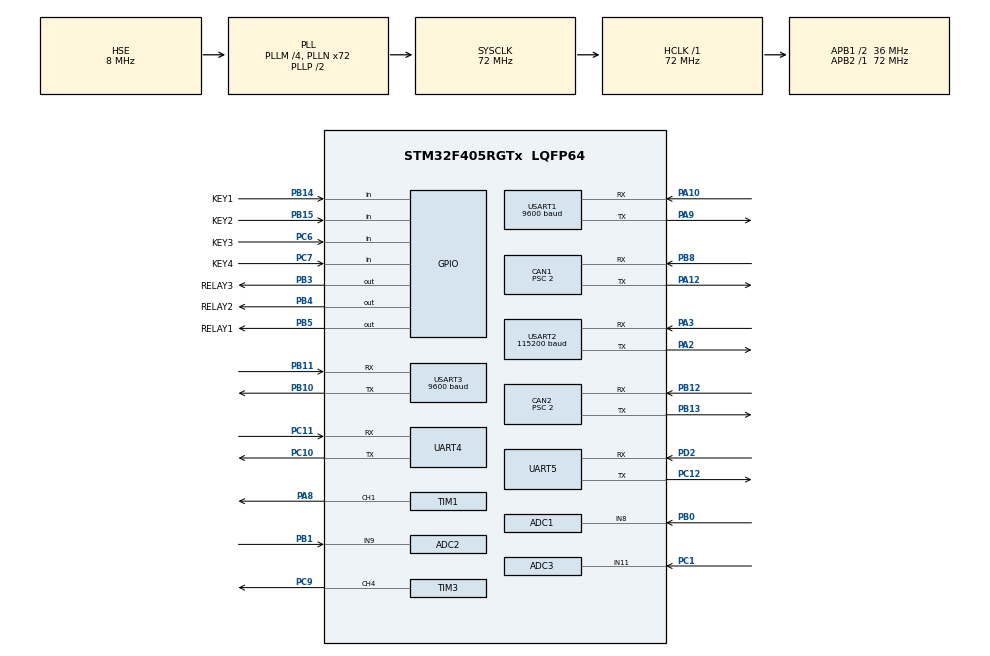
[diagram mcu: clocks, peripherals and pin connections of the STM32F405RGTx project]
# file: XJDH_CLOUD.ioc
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ADC1.Channel-0\#ChannelRegularConversion=ADC_CHANNEL_8
ADC1.ClockPrescaler=ADC_CLOCK_SYNC_PCLK_DIV2
ADC1.DMAContinuousRequests=ENABLE
ADC1.DiscontinuousConvMode=DISABLE
ADC1.NbrOfConversion=1
ADC1.NbrOfConversionFlag=1
ADC1.Rank-0\#ChannelRegularConversion=1
ADC1.SamplingTime-0\#ChannelRegularConversion=ADC_SAMPLETIME_3CYCLES
ADC1.ScanConvMode=ENABLE
ADC1.master=1
ADC2.Channel-0\#ChannelRegularConversion=ADC_CHANNEL_9
ADC2.NbrOfConversionFlag=1
ADC2.Rank-0\#ChannelRegularConversion=1
ADC2.SamplingTime-0\#ChannelRegularConversion=ADC_SAMPLETIME_3CYCLES
ADC3.Channel-0\#ChannelRegularConversion=ADC_CHANNEL_11
ADC3.NbrOfConversionFlag=1
ADC3.Rank-0\#ChannelRegularConversion=1
ADC3.SamplingTime-0\#ChannelRegularConversion=ADC_SAMPLETIME_3CYCLES
CAN1.BS1=CAN_BS1_11TQ
CAN1.BS2=CAN_BS2_6TQ
CAN1.CalculateBaudRate=1000000
CAN1.CalculateTimeBit=1000
CAN1.CalculateTimeQuantum=55.55555555555556
CAN1.Prescaler=2
CAN2.BS1=CAN_BS1_11TQ
CAN2.BS2=CAN_BS2_6TQ
CAN2.CalculateBaudRate=1000000
CAN2.CalculateTimeBit=1000
CAN2.CalculateTimeQuantum=55.55555555555556
CAN2.Prescaler=2
Dma.ADC1.1.Direction=DMA_PERIPH_TO_MEMORY
Dma.ADC1.1.FIFOMode=DMA_FIFOMODE_DISABLE
Dma.ADC1.1.Instance=DMA2_Stream0
Dma.ADC1.1.MemDataAlignment=DMA_MDATAALIGN_HALFWORD
Dma.ADC1.1.MemInc=DMA_MINC_ENABLE
Dma.ADC1.1.Mode=DMA_NORMAL
Dma.ADC1.1.PeriphDataAlignment=DMA_PDATAALIGN_HALFWORD
Dma.ADC1.1.PeriphInc=DMA_PINC_DISABLE
Dma.ADC1.1.Priority=DMA_PRIORITY_LOW
Dma.ADC2.3.Direction=DMA_PERIPH_TO_MEMORY
Dma.ADC2.3.FIFOMode=DMA_FIFOMODE_DISABLE
Dma.ADC2.3.Instance=DMA2_Stream3
Dma.ADC2.3.MemDataAlignment=DMA_MDATAALIGN_HALFWORD
Dma.ADC2.3.MemInc=DMA_MINC_ENABLE
Dma.ADC2.3.Mode=DMA_NORMAL
Dma.ADC2.3.PeriphDataAlignment=DMA_PDATAALIGN_HALFWORD
Dma.ADC2.3.PeriphInc=DMA_PINC_DISABLE
Dma.ADC2.3.Priority=DMA_PRIORITY_LOW
Dma.ADC3.5.Direction=DMA_PERIPH_TO_MEMORY
Dma.ADC3.5.FIFOMode=DMA_FIFOMODE_DISABLE
Dma.ADC3.5.Instance=DMA2_Stream1
Dma.ADC3.5.MemDataAlignment=DMA_MDATAALIGN_HALFWORD
Dma.ADC3.5.MemInc=DMA_MINC_ENABLE
Dma.ADC3.5.Mode=DMA_NORMAL
Dma.ADC3.5.PeriphDataAlignment=DMA_PDATAALIGN_HALFWORD
Dma.ADC3.5.PeriphInc=DMA_PINC_DISABLE
Dma.ADC3.5.Priority=DMA_PRIORITY_LOW
Dma.Request0=UART4_TX
Dma.Request1=ADC1
Dma.Request2=USART1_RX
Dma.Request3=ADC2
Dma.Request4=USART2_RX
Dma.Request5=ADC3
Dma.Request6=USART3_RX
Dma.Request7=UART5_RX
Dma.Request8=UART5_TX
Dma.Request9=UART4_RX
Dma.UART4_RX.9.Direction=DMA_PERIPH_TO_MEMORY
Dma.UART4_RX.9.FIFOMode=DMA_FIFOMODE_DISABLE
Dma.UART4_RX.9.Instance=DMA1_Stream2
Dma.UART4_RX.9.MemDataAlignment=DMA_MDATAALIGN_BYTE
Dma.UART4_RX.9.MemInc=DMA_MINC_ENABLE
Dma.UART4_RX.9.Mode=DMA_NORMAL
Dma.UART4_RX.9.PeriphDataAlignment=DMA_PDATAALIGN_BYTE
Dma.UART4_RX.9.PeriphInc=DMA_PINC_DISABLE
Dma.UART4_RX.9.Priority=DMA_PRIORITY_LOW
Dma.UART4_TX.0.Direction=DMA_MEMORY_TO_PERIPH
Dma.UART4_TX.0.FIFOMode=DMA_FIFOMODE_DISABLE
Dma.UART4_TX.0.Instance=DMA1_Stream4
Dma.UART4_TX.0.MemDataAlignment=DMA_MDATAALIGN_BYTE
Dma.UART4_TX.0.MemInc=DMA_MINC_ENABLE
Dma.UART4_TX.0.Mode=DMA_NORMAL
Dma.UART4_TX.0.PeriphDataAlignment=DMA_PDATAALIGN_BYTE
Dma.UART4_TX.0.PeriphInc=DMA_PINC_DISABLE
Dma.UART4_TX.0.Priority=DMA_PRIORITY_LOW
Dma.UART5_RX.7.Direction=DMA_PERIPH_TO_MEMORY
Dma.UART5_RX.7.FIFOMode=DMA_FIFOMODE_DISABLE
Dma.UART5_RX.7.Instance=DMA1_Stream0
Dma.UART5_RX.7.MemDataAlignment=DMA_MDATAALIGN_BYTE
Dma.UART5_RX.7.MemInc=DMA_MINC_ENABLE
Dma.UART5_RX.7.Mode=DMA_NORMAL
Dma.UART5_RX.7.PeriphDataAlignment=DMA_PDATAALIGN_BYTE
Dma.UART5_RX.7.PeriphInc=DMA_PINC_DISABLE
Dma.UART5_RX.7.Priority=DMA_PRIORITY_LOW
Dma.UART5_TX.8.Direction=DMA_MEMORY_TO_PERIPH
Dma.UART5_TX.8.FIFOMode=DMA_FIFOMODE_DISABLE
Dma.UART5_TX.8.Instance=DMA1_Stream7
Dma.UART5_TX.8.MemDataAlignment=DMA_MDATAALIGN_BYTE
Dma.UART5_TX.8.MemInc=DMA_MINC_ENABLE
Dma.UART5_TX.8.Mode=DMA_NORMAL
Dma.UART5_TX.8.PeriphDataAlignment=DMA_PDATAALIGN_BYTE
Dma.UART5_TX.8.PeriphInc=DMA_PINC_DISABLE
Dma.UART5_TX.8.Priority=DMA_PRIORITY_LOW
Dma.USART1_RX.2.Direction=DMA_PERIPH_TO_MEMORY
Dma.USART1_RX.2.FIFOMode=DMA_FIFOMODE_DISABLE
Dma.USART1_RX.2.Instance=DMA2_Stream2
Dma.USART1_RX.2.MemDataAlignment=DMA_MDATAALIGN_BYTE
Dma.USART1_RX.2.MemInc=DMA_MINC_ENABLE
Dma.USART1_RX.2.Mode=DMA_NORMAL
Dma.USART1_RX.2.PeriphDataAlignment=DMA_PDATAALIGN_BYTE
Dma.USART1_RX.2.PeriphInc=DMA_PINC_DISABLE
Dma.USART1_RX.2.Priority=DMA_PRIORITY_LOW
Dma.USART2_RX.4.Direction=DMA_PERIPH_TO_MEMORY
Dma.USART2_RX.4.FIFOMode=DMA_FIFOMODE_DISABLE
Dma.USART2_RX.4.Instance=DMA1_Stream5
Dma.USART2_RX.4.MemDataAlignment=DMA_MDATAALIGN_BYTE
Dma.USART2_RX.4.MemInc=DMA_MINC_ENABLE
Dma.USART2_RX.4.Mode=DMA_NORMAL
Dma.USART2_RX.4.PeriphDataAlignment=DMA_PDATAALIGN_BYTE
Dma.USART2_RX.4.PeriphInc=DMA_PINC_DISABLE
Dma.USART2_RX.4.Priority=DMA_PRIORITY_LOW
Dma.USART3_RX.6.Direction=DMA_PERIPH_TO_MEMORY
Dma.USART3_RX.6.FIFOMode=DMA_FIFOMODE_DISABLE
Dma.USART3_RX.6.Instance=DMA1_Stream1
Dma.USART3_RX.6.MemDataAlignment=DMA_MDATAALIGN_BYTE
Dma.USART3_RX.6.MemInc=DMA_MINC_ENABLE
Dma.USART3_RX.6.Mode=DMA_NORMAL
Dma.USART3_RX.6.PeriphDataAlignment=DMA_PDATAALIGN_BYTE
Dma.USART3_RX.6.PeriphInc=DMA_PINC_DISABLE
Dma.USART3_RX.6.Priority=DMA_PRIORITY_LOW
Mcu.Family=STM32F4
Mcu.Name=STM32F405RGTx
Mcu.Package=LQFP64
NVIC.DMA1_Stream0_IRQn=true\:0\:0\:false\:false\:true\:false\:true\:true
NVIC.DMA1_Stream1_IRQn=true\:0\:0\:false\:false\:true\:false\:true\:true
NVIC.DMA1_Stream2_IRQn=true\:0\:0\:false\:false\:true\:false\:true\:true
NVIC.DMA1_Stream4_IRQn=true\:0\:0\:false\:false\:true\:false\:true\:true
NVIC.DMA1_Stream5_IRQn=true\:0\:0\:false\:false\:true\:false\:true\:true
NVIC.DMA1_Stream7_IRQn=true\:0\:0\:false\:false\:true\:false\:true\:true
NVIC.DMA2_Stream0_IRQn=true\:0\:0\:false\:false\:true\:false\:true\:true
NVIC.DMA2_Stream1_IRQn=true\:0\:0\:false\:false\:true\:false\:true\:true
NVIC.DMA2_Stream2_IRQn=true\:0\:0\:false\:false\:true\:false\:true\:true
NVIC.DMA2_Stream3_IRQn=true\:0\:0\:false\:false\:true\:false\:true\:true
NVIC.PriorityGroup=NVIC_PRIORITYGROUP_4
NVIC.UART4_IRQn=true\:0\:0\:false\:false\:true\:true\:true\:true
NVIC.UART5_IRQn=true\:0\:0\:false\:false\:true\:true\:true\:true
NVIC.USART2_IRQn=true\:0\:0\:false\:false\:true\:true\:true\:true
NVIC.USART3_IRQn=true\:0\:0\:false\:false\:true\:true\:true\:true
PA10.Mode=Asynchronous
PA10.Signal=USART1_RX
PA12.Mode=CAN_Activate
PA12.Signal=CAN1_TX
PA13.Mode=Serial_Wire
PA13.Signal=SYS_JTMS-SWDIO
PA14.Mode=Serial_Wire
PA14.Signal=SYS_JTCK-SWCLK
PA2.Mode=Asynchronous
PA2.Signal=USART2_TX
PA3.Mode=Asynchronous
PA3.Signal=USART2_RX
PA8.Signal=S_TIM1_CH1
PA9.Mode=Asynchronous
PA9.Signal=USART1_TX
PB0.Signal=ADCx_IN8
PB1.Signal=ADCx_IN9
PB10.Mode=Asynchronous
PB10.Signal=USART3_TX
PB11.Mode=Asynchronous
PB11.Signal=USART3_RX
PB12.Mode=CAN_Activate
PB12.Signal=CAN2_RX
PB13.Mode=CAN_Activate
PB13.Signal=CAN2_TX
PB14.GPIO_Label=KEY1
PB14.Signal=GPIO_Input
PB15.GPIO_Label=KEY2
PB15.Signal=GPIO_Input
PB3.GPIO_Label=RELAY3
PB3.Signal=GPIO_Output
PB4.GPIO_Label=RELAY2
PB4.Signal=GPIO_Output
PB5.GPIO_Label=RELAY1
PB5.Signal=GPIO_Output
PB8.Mode=CAN_Activate
PB8.Signal=CAN1_RX
PC1.Signal=ADCx_IN11
PC10.Mode=Asynchronous
PC10.Signal=UART4_TX
PC11.Mode=Asynchronous
PC11.Signal=UART4_RX
PC12.Mode=Asynchronous
PC12.Signal=UART5_TX
PC14-OSC32_IN.Mode=LSE-External-Oscillator
PC14-OSC32_IN.Signal=RCC_OSC32_IN
PC15-OSC32_OUT.Mode=LSE-External-Oscillator
PC15-OSC32_OUT.Signal=RCC_OSC32_OUT
PC6.GPIO_Label=KEY3
PC6.Signal=GPIO_Input
PC7.GPIO_Label=KEY4
PC7.Signal=GPIO_Input
PC9.Signal=S_TIM3_CH4
PD2.Mode=Asynchronous
PD2.Signal=UART5_RX
PH0-OSC_IN.Mode=HSE-External-Oscillator
PH0-OSC_IN.Signal=RCC_OSC_IN
PH1-OSC_OUT.Mode=HSE-External-Oscillator
PH1-OSC_OUT.Signal=RCC_OSC_OUT
ProjectManager.HeapSize=0x200
ProjectManager.StackSize=0x400
ProjectManager.TargetToolchain=STM32CubeIDE
RCC.48MHZClocksFreq_Value=36000000
RCC.AHBFreq_Value=72000000
RCC.APB1CLKDivider=RCC_HCLK_DIV2
RCC.APB1Freq_Value=36000000
RCC.APB1TimFreq_Value=72000000
RCC.APB2Freq_Value=72000000
RCC.APB2TimFreq_Value=72000000
RCC.CortexFreq_Value=72000000
RCC.HCLKFreq_Value=72000000
RCC.HSE_VALUE=8000000
RCC.HSI_VALUE=16000000
RCC.PLLM=4
RCC.PLLN=72
RCC.PLLSourceVirtual=RCC_PLLSOURCE_HSE
RCC.SYSCLKFreq_VALUE=72000000
RCC.SYSCLKSource=RCC_SYSCLKSOURCE_PLLCLK
RCC.VCOOutputFreq_Value=144000000
SH.ADCx_IN11.0=ADC3_IN11,IN11
SH.ADCx_IN8.0=ADC1_IN8,IN8
SH.ADCx_IN9.0=ADC2_IN9,IN9
SH.S_TIM1_CH1.0=TIM1_CH1,PWM Generation1 CH1
SH.S_TIM3_CH4.0=TIM3_CH4,PWM Generation4 CH4
TIM1.AutoReloadPreload=TIM_AUTORELOAD_PRELOAD_DISABLE
TIM1.Channel-PWM\ Generation1\ CH1=TIM_CHANNEL_1
TIM1.ClockDivision=TIM_CLOCKDIVISION_DIV1
TIM1.Period=40000
TIM1.Prescaler=35
TIM3.AutoReloadPreload=TIM_AUTORELOAD_PRELOAD_DISABLE
TIM3.Channel-PWM\ Generation4\ CH4=TIM_CHANNEL_4
TIM3.ClockDivision=TIM_CLOCKDIVISION_DIV1
TIM3.Period=40000
TIM3.Prescaler=35
UART4.VirtualMode=Asynchronous
UART5.VirtualMode=Asynchronous
USART1.BaudRate=9600
USART1.VirtualMode=VM_ASYNC
USART2.BaudRate=115200
USART2.VirtualMode=VM_ASYNC
USART3.BaudRate=9600
USART3.VirtualMode=VM_ASYNC
VP_TIM1_VS_ClockSourceINT.Mode=Internal
VP_TIM3_VS_ClockSourceINT.Mode=Internal
board=custom

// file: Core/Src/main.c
/* USER CODE BEGIN Header */
/**
  ******************************************************************************
  * @file           : main.c
  * @brief          : Main program body
  ******************************************************************************
  * @attention
  *
  * Copyright (c) 2024 STMicroelectronics.
  * All rights reserved.
  *
  * This software is licensed under terms that can be found in the LICENSE file
  * in the root directory of this software component.
  * If no LICENSE file comes with this software, it is provided AS-IS.
  *
  ******************************************************************************
  */
/* USER CODE END Header */
#include "main.h"
#include "adc.h"
#include "can.h"
#include "dma.h"
#include "tim.h"
#include "usart.h"
#include "gpio.h"

/* USER CODE BEGIN Includes */
#include "board_init.h"
#include "u_RockerKey.h"
#include "can1.h"
#include "Power_Control.h"
#include "Data_Collect.h"
#include "Air820.h"
#include "pid.h"
#include "string.h"
#include "wt1_imu.h"
/* USER CODE END Includes */

/* USER CODE BEGIN PTD */
uint8_t BLUE_BUF[8];
uint8_t RECV_4G_BUFF[4096];
int Uart_4g_End;
uint8_t SPI_RXBUF[20];
uint8_t imu_buf[256];
int auto_flag;
uint8_t rs232rx_buf[128];
uint8_t synrxbuf[1024];
uint8_t CAN_RXBUF[8];
Board board_config;
PIDController heading_pid;
PIDController speed_pid;
PID_IN heading_in;
uint8_t rxu4_buffer[RXU4_BUFFER_SIZE];
uint8_t rxu4_data_ready;
uint8_t Auto_Start_Flag;
uint8_t rxu2_data_ready;
int Auto_Status;
int rc4g_flag;
float dt;
/* USER CODE END PTD */

void SystemClock_Config(void);

int main(void)
{

  /* MCU Configuration--------------------------------------------------------*/

  /* Reset of all peripherals, Initializes the Flash interface and the Systick. */
  HAL_Init();

  /* Configure the system clock */
  SystemClock_Config();

  /* Initialize all configured peripherals */
  MX_GPIO_Init();
  MX_DMA_Init();
  MX_UART4_Init();
  MX_ADC1_Init();
  MX_TIM1_Init();
  MX_TIM3_Init();
  MX_USART1_UART_Init();
  MX_CAN1_Init();
  MX_CAN2_Init();
  MX_ADC2_Init();
  MX_USART2_UART_Init();
  MX_ADC3_Init();
  MX_USART3_UART_Init();
  MX_UART5_Init();
  /* USER CODE BEGIN 2 */
  printf("Start!!\r\n");
  board_config.Net_4g.Status == Outline;
//  HAL_UART_Receive_IT(&huart3, RECV_4G_BUFF , sizeof(RECV_4G_BUFF));
  HAL_UART_Receive_IT(&huart4, (uint8_t *)rxu4_buffer, RXU4_BUFFER_SIZE);
  HAL_UART_Receive_IT(&huart2, (uint8_t *)imu_buf, sizeof(imu_buf));
  HAL_TIM_PWM_Start(&htim1,TIM_CHANNEL_1);
  HAL_TIM_PWM_Start(&htim3,TIM_CHANNEL_4);
  __HAL_TIM_SET_COMPARE(&htim1, TIM_CHANNEL_1, 3000);
  __HAL_TIM_SET_COMPARE(&htim3, TIM_CHANNEL_4, 3000);
  board_config.Rockers.Rocker_X = 2048;
  board_config.Rockers.Rocker_Y = 2048;
  board_config.Net_4g.Lock_Status = 0;
  Uart_4g_End = 0;
  dt = 0.1f;
  board_init();
  auto_flag = 0;
  rc4g_flag = 0;
  rxu2_data_ready = 0;
  Auto_Status = Auto_Normal;
  rxu4_data_ready = 0;
  Auto_Start_Flag = 0;
  board_config.gps.gps_num = 0;
  board_config.gps.now_number = 0;
  board_config.Imu_data.Pitch = 240.0;
  /* USER CODE END 2 */

  /* Infinite loop */
  while (1)
  {
    /* USER CODE BEGIN 3 */
    /*获取按钮次数，判断当前是哪一种控制模�?*/
	PID_Motor_Contorl();
	/*4G模块初始化不影响船只控制功能，所以必须要在主循环中初始化*/
//	HAL_Delay(1);
//	Air_820ug_rxdecode();
//	Air820_init();
  }
  /* USER CODE END 3 */
}

void SystemClock_Config(void)
{
  RCC_OscInitTypeDef RCC_OscInitStruct = {0};
  RCC_ClkInitTypeDef RCC_ClkInitStruct = {0};

  /** Configure the main internal regulator output voltage
  */
  __HAL_RCC_PWR_CLK_ENABLE();
  __HAL_PWR_VOLTAGESCALING_CONFIG(PWR_REGULATOR_VOLTAGE_SCALE1);

  /** Initializes the RCC Oscillators according to the specified parameters
  * in the RCC_OscInitTypeDef structure.
  */
  RCC_OscInitStruct.OscillatorType = RCC_OSCILLATORTYPE_HSE;
  RCC_OscInitStruct.HSEState = RCC_HSE_ON;
  RCC_OscInitStruct.PLL.PLLState = RCC_PLL_ON;
  RCC_OscInitStruct.PLL.PLLSource = RCC_PLLSOURCE_HSE;
  RCC_OscInitStruct.PLL.PLLM = 4;
  RCC_OscInitStruct.PLL.PLLN = 72;
  RCC_OscInitStruct.PLL.PLLP = RCC_PLLP_DIV2;
  RCC_OscInitStruct.PLL.PLLQ = 4;
  if (HAL_RCC_OscConfig(&RCC_OscInitStruct) != HAL_OK)
  {
    Error_Handler();
  }

  /** Initializes the CPU, AHB and APB buses clocks
  */
  RCC_ClkInitStruct.ClockType = RCC_CLOCKTYPE_HCLK|RCC_CLOCKTYPE_SYSCLK
                              |RCC_CLOCKTYPE_PCLK1|RCC_CLOCKTYPE_PCLK2;
  RCC_ClkInitStruct.SYSCLKSource = RCC_SYSCLKSOURCE_PLLCLK;
  RCC_ClkInitStruct.AHBCLKDivider = RCC_SYSCLK_DIV1;
  RCC_ClkInitStruct.APB1CLKDivider = RCC_HCLK_DIV2;
  RCC_ClkInitStruct.APB2CLKDivider = RCC_HCLK_DIV1;

  if (HAL_RCC_ClockConfig(&RCC_ClkInitStruct, FLASH_LATENCY_2) != HAL_OK)
  {
    Error_Handler();
  }
}

/* USER CODE BEGIN 4 */
void HAL_UART_RxCpltCallback(UART_HandleTypeDef *huart)
{

	if(huart->Instance == USART3){
		Uart_4g_End = 1;
		rc4g_flag = 1;
	}
	else if (huart->Instance == UART4) {
		rxu4_data_ready = 1;
	  //__HAL_UART_DISABLE_IT(&huart4, UART_IT_RXNE);
	}
	else if(huart->Instance == USART2){
		rxu2_data_ready = 1;
		__HAL_UART_DISABLE_IT(&huart2, UART_IT_RXNE);
	}
}
/* USER CODE END 4 */

void Error_Handler(void)
{
  __disable_irq();
  while (1)
  {
  }
}
